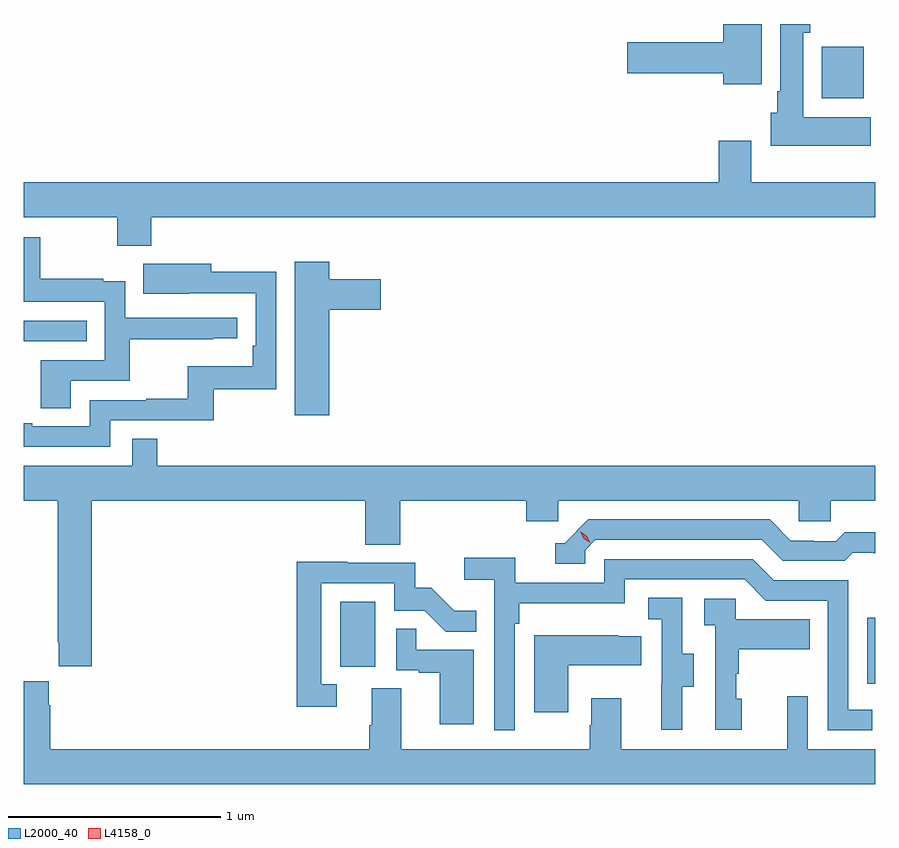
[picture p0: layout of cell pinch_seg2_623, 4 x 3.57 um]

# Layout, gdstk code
import gdstk
lib = gdstk.Library(unit=1e-6, precision=1e-09)
def R(c, l, rs):  # rectangles x0, y0, x1, y1
    for r in rs: c.add(gdstk.rectangle(r[:2], r[2:], *l))
def P(c, l, *ps):  # polygons
    for p in ps: c.add(gdstk.Polygon(p, *l))
L2000_40 = (2000, 40)
L4158_0 = (4158, 0)

pinch_seg2_623 = lib.new_cell('pinch_seg2_623')
R(pinch_seg2_623, L2000_40, [(1071.114,585.504,1071.151,585.814), (1068.638,585.582,1068.802,585.889), (1067.151,587.112,1067.447,587.208), (1070.9,588.254,1071.097,588.496)])
P(pinch_seg2_623, L2000_40, [(1071.13,588.166),(1070.812,588.166),(1070.812,588.563),(1070.845,588.563),(1070.845,588.603),(1070.705,588.603),(1070.705,588.286),(1070.69,588.286),(1070.69,588.186),(1070.66,588.186),(1070.66,588.032),(1071.13,588.032)],
  [(1070.617,588.603),(1070.438,588.603),(1070.438,588.518),(1069.986,588.518),(1069.986,588.371),(1070.438,588.371),(1070.438,588.32),(1070.617,588.32)],
  [(1067.75,587.696),(1071.151,587.696),(1071.151,587.86),(1070.569,587.86),(1070.569,588.055),(1070.417,588.055),(1070.417,587.86),(1067.151,587.86),(1067.151,587.696),(1067.59,587.696),(1067.59,587.561),(1067.75,587.561)],
  [(1067.371,586.926),(1067.648,586.926),(1067.648,587.122),(1068.041,587.122),(1068.041,587.127),(1068.154,587.127),(1068.154,587.223),(1067.628,587.223),(1067.628,587.395),(1067.525,587.395),(1067.525,587.407),(1067.227,587.407),(1067.227,587.601),(1067.151,587.601),(1067.151,587.298),(1067.532,587.298),(1067.532,587.022),(1067.231,587.022),(1067.231,586.798),(1067.371,586.798)],
  [(1068.586,587.261),(1068.829,587.261),(1068.829,587.403),(1068.586,587.403),(1068.586,587.485),(1068.425,587.485),(1068.425,586.764),(1068.586,586.764)],
  [(1067.556,586.74),(1068.043,586.74),(1068.043,586.887),(1068.336,586.887),(1068.336,587.438),(1068.031,587.438),(1068.031,587.476),(1067.713,587.476),(1067.713,587.336),(1067.927,587.336),(1067.927,587.337),(1068.24,587.337),(1068.24,587.092),(1068.227,587.092),(1068.227,586.996),(1067.922,586.996),(1067.922,586.841),(1067.725,586.841),(1067.725,586.836),(1067.46,586.836),(1067.46,586.713),(1067.191,586.713),(1067.191,586.726),(1067.151,586.726),(1067.151,586.617),(1067.556,586.617)],
  [(1067.471,586.364),(1068.755,586.364),(1068.755,586.156),(1068.92,586.156),(1068.92,586.364),(1069.511,586.364),(1069.511,586.266),(1069.662,586.266),(1069.662,586.364),(1070.793,586.364),(1070.793,586.266),(1070.943,586.266),(1070.943,586.364),(1071.151,586.364),(1071.151,586.528),(1067.777,586.528),(1067.777,586.655),(1067.661,586.655),(1067.661,586.528),(1067.151,586.528),(1067.151,586.364),(1067.311,586.364),(1067.311,585.697),(1067.315,585.697),(1067.315,585.585),(1067.471,585.585)],
  [(1069.788,586.131),(1069.836,586.179),(1070.619,586.179),(1070.718,586.08),(1071.007,586.08),(1071.046,586.119),(1071.145,586.119),(1071.145,586.116),(1071.151,586.116),(1071.151,586.216),(1071.007,586.216),(1070.965,586.173),(1070.862,586.173),(1070.862,586.176),(1070.755,586.176),(1070.656,586.275),(1069.803,586.275),(1069.692,586.164),(1069.649,586.164),(1069.649,586.068),(1069.788,586.068)],
  [(1069.458,585.785),(1069.478,585.785),(1069.478,585.881),(1069.974,585.881),(1069.974,585.993),(1070.538,585.993),(1070.637,585.894),(1070.928,585.894),(1070.928,585.285),(1071.137,585.285),(1071.137,585.381),(1071.024,585.381),(1071.024,585.99),(1070.674,585.99),(1070.575,586.089),(1069.878,586.089),(1069.878,585.978),(1069.46,585.978),(1069.46,586.094),(1069.221,586.094),(1069.221,585.992),(1069.362,585.992),(1069.362,585.285),(1069.458,585.285)],
  [(1068.622,585.501),(1068.549,585.501),(1068.549,585.975),(1068.891,585.975),(1068.891,585.846),(1069.035,585.846),(1069.133,585.748),(1069.277,585.748),(1069.277,585.847),(1069.173,585.847),(1069.066,585.954),(1068.99,585.954),(1068.99,586.071),(1068.671,586.071),(1068.671,586.076),(1068.433,586.076),(1068.433,585.396),(1068.622,585.396)],
  [(1070.245,585.49),(1070.299,585.49),(1070.299,585.645),(1070.244,585.645),(1070.244,585.908),(1070.085,585.908),(1070.085,585.805),(1070.148,585.805),(1070.148,585.501),(1070.147,585.501),(1070.147,585.288),(1070.245,585.288)],
  [(1070.524,585.432),(1070.499,585.432),(1070.499,585.551),(1070.509,585.551),(1070.509,585.665),(1070.843,585.665),(1070.843,585.805),(1070.496,585.805),(1070.496,585.903),(1070.349,585.903),(1070.349,585.779),(1070.4,585.779),(1070.4,585.288),(1070.524,585.288)],
  [(1069.264,585.663),(1068.995,585.663),(1068.995,585.761),(1068.9,585.761),(1068.9,585.567),(1069.007,585.567),(1069.007,585.555),(1069.106,585.555),(1069.106,585.312),(1069.264,585.312)],
  [(1069.708,585.59),(1070.051,585.59),(1070.051,585.727),(1069.943,585.727),(1069.943,585.73),(1069.55,585.73),(1069.55,585.369),(1069.708,585.369)],
  [(1071.151,585.196),(1070.835,585.196),(1070.835,585.445),(1070.738,585.445),(1070.738,585.196),(1069.957,585.196),(1069.957,585.436),(1069.817,585.436),(1069.817,585.308),(1069.81,585.308),(1069.81,585.196),(1068.925,585.196),(1068.925,585.482),(1068.785,585.482),(1068.785,585.308),(1068.773,585.308),(1068.773,585.196),(1067.276,585.196),(1067.276,585.401),(1067.269,585.401),(1067.269,585.514),(1067.151,585.514),(1067.151,585.032),(1071.151,585.032)])
P(pinch_seg2_623, L4158_0, [(1069.812,586.165),(1069.782,586.185),(1069.766,586.218),(1069.766,586.218),(1069.767,586.218),(1069.797,586.198),(1069.812,586.166),(1069.812,586.165)])

lib.write_gds('pinch_seg2_623.gds')
